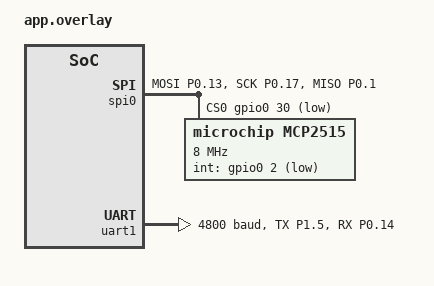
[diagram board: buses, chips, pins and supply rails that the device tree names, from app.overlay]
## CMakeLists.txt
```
# SPDX-License-Identifier: Apache-2.0

cmake_minimum_required(VERSION 3.20.0)

find_package(Zephyr REQUIRED HINTS $ENV{ZEPHYR_BASE})
project(baldr_app)

target_sources(app PRIVATE 
	src/main.c
	src/joystick.c
	src/motorstyring.c
	src/gamepad_uart.c
	src/canbus.c
	)
```

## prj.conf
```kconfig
# nothing here
CONFIG_STDOUT_CONSOLE=y 
CONFIG_ADC=y
CONFIG_CAN=y
CONFIG_CAN_MCP2515=y
CONFIG_SPI=y
CONFIG_NEWLIB_LIBC=y  

#  UART_ISR
CONFIG_SERIAL=y
CONFIG_UART_INTERRUPT_DRIVEN=y
CONFIG_CONSOLE=y
CONFIG_UART_CONSOLE=y

# Bluetooth
CONFIG_BT=y
CONFIG_BT_CENTRAL=y
CONFIG_BT_GATT_CLIENT=y
CONFIG_BT_HCI=y

# Enable scanning
CONFIG_BT_OBSERVER=y

# Logging
CONFIG_LOG=y
CONFIG_LOG_DEFAULT_LEVEL=3

# Memory
CONFIG_HEAP_MEM_POOL_SIZE=2048
```

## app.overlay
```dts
&spi0 {
    status = "okay";
    cs-gpios = <&gpio0 30 GPIO_ACTIVE_LOW>; 
pinctrl-0 = <&spi1_default>; 
pinctrl-names = "default";

    mcp2515: can@0 {
        compatible = "microchip,mcp2515";
        reg = <0>;
        spi-max-frequency = <8000000>;
        int-gpios = <&gpio0 2 (GPIO_ACTIVE_LOW | GPIO_PULL_UP)>;
        osc-freq = <8000000>;
        bus-speed = <500000>;
        status = "okay";
    };
};

&uart1 {
    current-speed = <4800>;
    status = "okay";
    pinctrl-0 = <&uart1_default>;
    pinctrl-names = "default";
    label = "UART_1";
};
 
 
&pinctrl {
    uart1_default: uart1_default {
        group1 {
            psels = <NRF_PSEL(UART_TX, 1, 5)>,
                    <NRF_PSEL(UART_RX, 0, 14)>;
        };
    };
};

&pinctrl {
    spi1_default: spi1_default {
        group1 {
            psels = <NRF_PSEL(SPIM_MOSI, 0, 13)>,
                    <NRF_PSEL(SPIM_SCK, 0, 17)>,
                    <NRF_PSEL(SPIM_MISO, 0, 1)>;
        };
    };
};

/ {
    chosen {
        zephyr,canbus = &mcp2515;
    };
};
```

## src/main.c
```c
//********************************************************************************************************
// Filename		: main.c
// Date			: April 2026
// Description	: Microbit code
// Path			: C:\Baldr_software\Kode\zephyrproject
// Compile		: west build -b bbc_microbit_v2 -p always my_apps/baldr_app --pristine
// Flash		: west flash
//********************************************************************************************************
#include <zephyr/kernel.h>
#include <zephyr/device.h>
#include <zephyr/bluetooth/bluetooth.h>
#include <zephyr/drivers/can.h>
#include <stdio.h> //for tilgang til printf()
#include <stdint.h>  //for å bruke faste heltall
#include <stddef.h>  //tilgang til NULL og size_t
#include <math.h>
#include "joystick.h"
#include "motorstyring.h"
#include "gamepad_uart.h" //"8bitdo.h"
#include "canbus.h"

extern gamepad_t gamepad;

LOG_MODULE_REGISTER(main);

// Global variabel for 8BitDo-kontrolleren
//gamepad_t gamepad;

// Sikre at man får en fast sample-rate på f.eks 10 ms = 0.01 sec (tilsvarer 100 Hz)
K_TIMER_DEFINE(my_timer, NULL, NULL);

//****************************************************************************************************
// Hovedprogrammet
//****************************************************************************************************
int main(void)
{
	int					ret = 0;
	double 				dSampleFreq = 10.0; // Hz
	double 				dTs = 0.0;
	double 				dTs_ms = 0.0;
	uint32_t 			nUpTime = 0;
    CarMovementInput_t  CarMovement;        // Bevegelser av bilen
    MotorVerdier_t      Motorverdier;       // Beregnede motorverider
	RPMVerdier_t 		RPMVerdier;
	double 				dScalingFactor = 1.0;
	int					nRPM1 = 0;
	int					nRPM2 = 0;
	int					nRPM3 = 0;
	int					nRPM4 = 0;
	int					rt_trigger = 0;
	
	dTs = 1.0/dSampleFreq;
	dTs_ms = (1000.0*dTs);

	// Initialisering av gamepad-data
	gamepad.buttons = 0;
	gamepad.joystick[0] = 0;
	gamepad.joystick[1] = 0;
	gamepad.joystick[2] = 0;

    CarMovement.fart = 0.0;
    CarMovement.vinkel = 0.0;
	CarMovement.rotasjon = 0.0;
	//****************************************************************************************************
	// Koble opp CAN-bussen
	//****************************************************************************************************
    if (!device_is_ready(can_dev)) {
        LOG_ERR("CAN device not ready\n");
        return -1;
    }

    ret = can_start(can_dev);
    if (ret != 0) {
        LOG_ERR("Failed to start CAN: %d\n", ret);
        return -1; 
    }
    LOG_INF("CAN started\n");

	//Initialisering av UART som leser fra ESP32. ESP32 har bluetooth kobling til 8bitdo bluetooth-kontroller.
	gamepad_uart_init();

	// Kjøre appen i fast sample-rate
	k_timer_start(&my_timer, K_MSEC(dTs_ms), K_MSEC(dTs_ms));

	//****************************************************************************************************
    // Hovedløkka som håndterer styrer hele programmet fra Game-pad input til VESC controller.
	//****************************************************************************************************
    while (1) {
		//uart_cb er en interrupt service rutine som kalles hver gang vi får data. Kalles derfor ikke herfra.
		k_timer_status_sync(&my_timer);
		nUpTime = k_uptime_seconds();

		// Gjør om fra Joystick/gamepad til Bil-verdier. joystick.c,h
		// Gir inn verdiene som trykker på Game-padden og regner om til hvordan hjulene skal kjøres.
		HandleJoystick(gamepad, &CarMovement);
		// Gjør om fra Bil-verdier til Motor-verdier. motorstyring.c,h
		// Regner ut fra hjulenes bevegelse til verdier pr. hjul oppgitt i {-1.0..1.0}
		kalkulerMotorVerdier(CarMovement, &Motorverdier);
		
        // Send de fire Motor-verdiene (RPM-verdier) til VESC servo kontrollerne over CAN-bus.
		dScalingFactor = CarMovement.dScalingFactor;
        kalkulerRPMVerdier(Motorverdier, &RPMVerdier, dScalingFactor);
		nRPM1 = (int) RPMVerdier.foran_venstre_RPM;
		nRPM2 = (int) RPMVerdier.foran_hoyre_RPM;
		nRPM3 = (int) RPMVerdier.bak_venstre_RPM;
		nRPM4 = (int) RPMVerdier.bak_hoyre_RPM;
		//LOG_INF("RPM = %d,%d,%d,%d\n", nRPM1, nRPM2, nRPM3, nRPM4);
		rt_trigger = gamepad.buttons & BUTTON_RT;  	//# Right-trigger
		if (rt_trigger) {
			ret = vesc_set_rpm(RPMVerdier.foran_venstre_RPM, VESC_ID1);			// Send to VESC controller 1
			ret = vesc_set_rpm(RPMVerdier.foran_hoyre_RPM, VESC_ID2);			// Send to VESC controller 2
			ret = vesc_set_rpm(RPMVerdier.bak_venstre_RPM, VESC_ID3);			// Send to VESC controller 3
			ret = vesc_set_rpm(RPMVerdier.bak_hoyre_RPM, VESC_ID4);				// Send to VESC controller 4
			//LOG_INF("closed_loop\n");
		}
		if (ret == -EAGAIN) {
			// Queue full: ikke send mer nå
			// vent litt lenger før neste forsøk
			LOG_INF("CAN queue full, try again: %d\n", ret);
			k_sleep(K_MSEC(50));
		} else if (ret != 0) {
			LOG_INF("CAN error: %d\n", ret);
		}
    }
	
	return 0;
}
```

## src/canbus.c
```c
//********************************************************************************************************
// Filename		: canbus.c
// Description	: Program taking Joystick input as speed reference and limits the accelaration
//********************************************************************************************************
#include <zephyr/kernel.h>
#include <zephyr/device.h>
#include <zephyr/drivers/can.h>
//#include <zephyr/sys/printk.h>
#include <zephyr/logging/log.h>
#include "canbus.h"

LOG_MODULE_REGISTER(canbus);

const struct device *can_dev = DEVICE_DT_GET(CAN_NODE);

//********************************************************************************************************
int vesc_set_rpm(int32_t rpm, int32_t vesc_id)
{
    struct can_frame frame = {0};

    /* Bygg CAN-ID: (cmd << 8) | vesc_id */
    //uint32_t cmd_id = ((uint32_t)CAN_PACKET_SET_RPM << 8) | VESC_ID;
    uint32_t cmd_id = ((uint32_t)CAN_PACKET_SET_RPM << 8) | vesc_id;

    frame.id      = cmd_id;
    frame.dlc     = 4;   /* RPM = 4 byte */
	frame.flags   = CAN_FRAME_IDE;

    /* Pakk RPM som big-endian */
    frame.data[0] = (rpm >> 24) & 0xFF;
    frame.data[1] = (rpm >> 16) & 0xFF;
    frame.data[2] = (rpm >> 8)  & 0xFF;
    frame.data[3] = (rpm >> 0)  & 0xFF;

	int ret = can_send(can_dev, &frame, K_NO_WAIT, NULL, NULL);
    return ret;
}
```

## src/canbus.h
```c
//********************************************************************************************************
// Filename		: H-file
// Description	: Handling Canbus
//********************************************************************************************************
#ifndef _CANBUS_H_INCLUDED	/* Allow multiple inclusions											    */
#define _CANBUS_H_INCLUDED

#include <zephyr/logging/log.h>
#include <zephyr/drivers/can.h>

#define CAN_NODE DT_CHOSEN(zephyr_canbus)
#define VESC_ID1							1 // VESC-kontroller 1
#define VESC_ID2							2 // VESC-kontroller 2
#define VESC_ID3       			        	3 // VESC-kontroller 3
#define VESC_ID4         					4 // VESC-kontroller 4
#define CAN_PACKET_SET_DUTY     			0 // Dette er PWM-kommandoer
#define CAN_PACKET_SET_RPM      			3 // Dette er ERPM-kommandoer

extern const struct device *can_dev;

//********************************************************************************************************
int vesc_set_rpm(int32_t rpm, int32_t vesc_id);

#endif /* _CANBUS_H_INCLUDED																			*/
```

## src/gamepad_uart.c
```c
#include <zephyr/kernel.h>
#include <zephyr/device.h>
#include <zephyr/devicetree.h>
#include <zephyr/drivers/uart.h>
#include <zephyr/logging/log.h>
#include <stdlib.h>
#include <stdio.h>

#include "gamepad_uart.h"
#include "joystick.h"

LOG_MODULE_REGISTER(gamepad_uart);

#define UART_NODE DT_NODELABEL(uart1)

static const struct device *uart_dev = DEVICE_DT_GET(UART_NODE);

gamepad_t gamepad = {0};

int JS_decode(uint8_t c)
{
    int         nStatus     = 1;            // 1: OK, 0: No data, -1: Error
    static char line[MAX_NUM_DIGITS + 1];   // Buffer for å bygge opp tallstrengen
    static int  iCnt = 0;                   // Indeks for å holde styr på hvor vi er i linjen
    static int  comma_index = 0;            // Indeks for å holde styr på hvilken joystick-knapp vi er på

    // Sjekk om tegnet er et siffer (0-9)
    if ((c >= '0') && (c <= '9')) {
        if (iCnt <= MAX_NUM_DIGITS) {
            line[iCnt++] = c;
        }
    // Fortsett å lese til vi får et komma, som indikerer at vi har fullført en joystick-verdi
    } else if (c == ',') {
        if (iCnt > 0) {
            line[iCnt] = '\0';
            // Konverter linjen til et heltall
            int value = atoi(line);

            // Oppdater gamepad_values med den konverterte verdien
            gamepad.joystick[comma_index] = value;
            iCnt = 0;       // Tilbakestill for neste verdi
            comma_index++;  // Gå til neste joystick-knapp
        }
    // Når vi får linjeskift, da er siste verdi knappe-verdiene. Tilbakestill så for neste runde.
    } else if ((c == '\n') || (c == '\r')) {
        if (iCnt > 0) {
            line[iCnt] = '\0';
            int value = atoi(line);
            gamepad.buttons = value;
            iCnt = 0;           // Tilbakestill for neste runde
            comma_index = 0;    // Tilbakestill for neste runde
        }
    }
    return nStatus;
}

/* Interrupt callback */
void uart_cb(const struct device *dev, void *user_data)
{
    uint8_t buf[UART_FIFO_SIZE];
    int length;

    /* Så lenge det finnes bytes i FIFO, les dem */
    while (uart_irq_update(dev) && uart_irq_rx_ready(dev)) {
        length = uart_fifo_read(dev, buf, sizeof(buf));

        for (int i = 0; i < length; i++) {
            uint8_t c = buf[i];
            /* Her prosesserer du hver byte */
            JS_decode(c);
        }
    }
}

//****************************************************************************************************
void gamepad_uart_init(void)
{
    if (!device_is_ready(uart_dev)) {
        LOG_ERR("UART not ready\n");
        return;
    }

    /* Sett callback */
    uart_irq_callback_set(uart_dev, uart_cb);

    /* Aktiver RX-interrupt */
    uart_irq_rx_enable(uart_dev);

    LOG_INF("Gamepad UART ready");
}
```

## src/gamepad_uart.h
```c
#ifndef _GAMEPAD_UART_H_
#define _GAMEPAD_UART_H_

#include "joystick.h"

#define UART_FIFO_SIZE  32

#define MAX_NUM_DIGITS          4
#define MAX_UART_DATA_LENGTH    35

extern gamepad_t gamepad;

void gamepad_uart_init(void);
void gamepad_uart_update(void);

#endif
```

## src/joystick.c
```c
//********************************************************************************************************
// Filename		: joystick.c
// Description	: Program taking Joystick input as speed reference and limits the accelaration
//********************************************************************************************************
#include <stdio.h>
#include <string.h>
#include <math.h>
#include "joystick.h"

LOG_MODULE_REGISTER(joystick);

const double pi = 3.14159265358979;

//********************************************************************************************************
int beregn_bevegelse(double lx, double ly, double rx, double *fart, double *vinkel, double *rotasjon)
{
    //# dødsone – ignorer små bevegelser
    if (fabs(lx) < 0.1) {
        lx = 0.0;
	}
	
    if (fabs(ly) < 0.1) {
        ly = 0.0;
	}

	if (fabs(rx) < 0.1) {
        rx = 0.0;
    }

	//fart
	
    *fart = sqrt(lx*lx + ly*ly);
    *fart = MIN_VALUE(*fart, 1.0);
	*fart = MAX_VALUE(*fart, -1.0);

    if (*fart < 0.1) {
        *fart = 0.0;
	}
	
	//vinkel

    //# Vinkel: 0° = opp, 90° = høyre, 180° = ned, 270° = venstre
    *vinkel = atan2(lx, -ly);  //# OBS: bytt rekkefølge og tegn
    if (*vinkel < 0.0) {
        *vinkel += 2.0 * pi;
	}

	//rotasjon

	*rotasjon = rx;

    *rotasjon = MIN_VALUE(*rotasjon, 1.0);
    *rotasjon = MAX_VALUE(*rotasjon, -1.0);

    if (fabs(*rotasjon) < 0.1) {
        *rotasjon = 0.0;
    }
	
    return 0;
}

//# Bestem fart basert på valgt profil
//********************************************************************************************************
int skaler_bevegelse(double fart, double rotasjon, int profil, double *skalert_fart, double *skalert_rotasjon)
{
    if (profil == 1) {
        *skalert_fart = fart * 0.2;
		*skalert_rotasjon = rotasjon * 0.2;
    } else if (profil == 2) {
        *skalert_fart = (fart * 0.4);
		*skalert_rotasjon = rotasjon * 0.2;
    } else if (profil == 3) {
        *skalert_fart = (fart * 0.8);
		*skalert_rotasjon = rotasjon * 0.2;
	} else if (profil == 4) {
        *skalert_fart = (fart * 1.0);
		*skalert_rotasjon = rotasjon * 0.2;
    }
	
	return 0;
}

//********************************************************************************************************
int HandleJoystick(gamepad_t gamepad, CarMovementInput_t* pCarMovement)
{
	double 	rotasjon = 0.0;
	int 	aKnapp = 0;
	int 	bKnapp = 0;
	int 	yKnapp = 0;
	int 	xKnapp = 0;
	double 	venstre_x = 0.0;
	double 	venstre_y = 0.0;
	double 	hoyre_x = 0.0;
	static int 	Hastighetsmodus = 1;
	int 	Ret = 0;
	double 	fart = 0.0;
	double 	vinkel = 0.0;
	
	// === Input Knapper ===
	aKnapp = gamepad.buttons & BUTTON_A;  	//# A-knapp
	bKnapp = gamepad.buttons & BUTTON_B;  	//# B-knapp
	yKnapp = gamepad.buttons & BUTTON_Y;  	//# Y-knapp
	xKnapp = gamepad.buttons & BUTTON_X;  	//# X-knapp

	//# == Input Joystick ===
	venstre_x = (double)gamepad.joystick[0]*(2.0/1023.0) - 1.0; //Gjør om fra {0, 1023} til {-1.0, 1.0}
	venstre_y = (double)gamepad.joystick[1]*(2.0/1023.0) - 1.0; //Gjør om fra {0, 1023} til {-1.0, 1.0}
	hoyre_x = (double)gamepad.joystick[2]*(2.0/1023.0) - 1.0; //Gjør om fra {0, 1023} til {-1.0, 1.0}

	pCarMovement->dScalingFactor = 0.2; //1.0

	//# === Endre hastighetsmoduser ===
	/* Endre modus */

if (bKnapp) {

    Hastighetsmodus = 1;

} else if (aKnapp) {

    Hastighetsmodus = 2;

} else if (yKnapp) {

    Hastighetsmodus = 3;

} else if (xKnapp) {

    Hastighetsmodus = 4;
}

/* Bruk lagret modus */

switch (Hastighetsmodus) {

case 1:
    pCarMovement->dScalingFactor = 0.2;
    break;

case 2:
    pCarMovement->dScalingFactor = 0.4;
    break;

case 3:
    pCarMovement->dScalingFactor = 0.8;
    break;

case 4:
    pCarMovement->dScalingFactor = 1.0;
    break;

default:
    pCarMovement->dScalingFactor = 0.2;
    break;
}

	//# Beregn fart og vinkel
	Ret = beregn_bevegelse(venstre_x, venstre_y, hoyre_x, &fart, &vinkel, &rotasjon);

	pCarMovement->fart = fart;
	pCarMovement->vinkel = vinkel;
	pCarMovement->rotasjon = rotasjon;

    return 0;
}
```

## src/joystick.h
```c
//********************************************************************************************************
// Filename		: H-file
// Description	: Handling Joystick
//********************************************************************************************************
#ifndef _JOYSTICK_H_INCLUDED	/* Allow multiple inclusions											    */
#define _JOYSTICK_H_INCLUDED

#include <zephyr/logging/log.h>

#define MAX_VALUE(A,B) ((A)  > (B) ? (A) : (B))
#define MIN_VALUE(A,B) ((A)  < (B) ? (A) : (B))

#define BUTTON_B			0x0001	// bit 0
#define BUTTON_A			0x0002	// bit 1
#define BUTTON_Y			0x0004	// bit 2
#define BUTTON_X			0x0008	// bit 3
#define BUTTON_RT			0x0080  // bit 7

#define MAX_JOYSTICK_AXES       3
#define BUTTONS_AXES            1

typedef struct {
    uint16_t buttons;	    // Alle knappene
    uint16_t joystick[MAX_JOYSTICK_AXES];	// Joysticks, left and right (lx, ly, rx)
} gamepad_t;

typedef struct {
	//Fart og rotasjon
    //hvor fort bilen skal bevege seg. 
    // 0.0 = full stopp
    // 1.0 = maks fart 
    double fart;

    //hvilken retning bilen skal bevege seg i (0 til 2pi radianer) 
    // 0 = rett frem
    // pi/2 = mot venstre
    // pi =  bakover
    // 3pi/2 =  mot høyre
    double vinkel;

    //Den rotasjonen vi ønsker rundt egen akse
    // -1.0 = roter mot venstre
    // 0.0 = ingen rotasjon
    // 1.0 = roter mot høyre
    double rotasjon;

    double dScalingFactor;

    //ekstra finjustering for sving fra en egen styrespak, for at bilen skal svinge som en ekte bil.
    //double sving_js)
} CarMovementInput_t;


//********************************************************************************************************
int beregn_bevegelse(double lx, double ly, double rx, double *fart, double *vinkel, double *rotasjon);
int skaler_bevegelse(double fart, double rotasjon, int profil, double *skalert_fart, double *skalert_rotasjon);
int HandleJoystick(gamepad_t gamepad, CarMovementInput_t* pCarMovement);

#endif /* _JOYSTICK_H_INCLUDED																			*/
```

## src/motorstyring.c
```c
//********************************************************************************************************
// Filename		: motorstyring.c
// Description	: Gjør om fra Joystick input til pådrag på alle fire hjulene
//********************************************************************************************************
#include <stdio.h>
#include <string.h>
#include <math.h>
#include "motorstyring.h"

LOG_MODULE_REGISTER(Motorstyring);

//********************************************************************************************************
// Funksjon som regner ut hvor mye hver motor skal bidra med for å oppnå ønsket fart, vinkel, rotasjon og sving
//********************************************************************************************************
int kalkulerMotorVerdier(CarMovementInput_t CarMovement, MotorVerdier_t *pMotorverdier)
{
    double rotering = 0.0;
    double x = 0.0;
    double y = 0.0;

    // Hvis bilen står stille og RB/LB trykkes så vil bilen rotere med en fast hastighet.
    // trykkes en annen kjøreknapp så stoppes rotasjonen.
/*    if (CarMovement.fart == 0.0 && CarMovement.rotasjon != 0.0) {
        // bruker 0.3 fordi maks rpm er satt til 4tusen, ved å bruke 0.3 * 4tusen
        // så blir rotasjonsfarta 1,2tusen rpm, fast og kontrollert.
        if (CarMovement.rotasjon > 0) {
            rotering = 0.3;
        } else {
            rotering = -0.3;
        } 
    }
*/    

    rotering = CarMovement.rotasjon;
    // Regner ut hvor mye bevegelse som skal være i X-retning (sideveis)
    // Omgjør fart og vinkel til en x-verdi
    // sinf(vinkel) gir hvor mye som skal gå i X-retning
    x = CarMovement.fart * sin(CarMovement.vinkel);

    // Regner ut hvor mye bevegelse som skal være i Y-retning (fremover/bakover)
    // Omgjør fart og vinkel til en Y-verdi
    // cosf(vinkel) gir hvor mye som skal gå i Y-retning
    // X og Y tilsammen er en bevegelsesvektor som
    y = CarMovement.fart * cos(CarMovement.vinkel);

    // for å legge til ekstra sidebevegelse (sving) fra joystick for svinging
    // sving_js ganges med 0.5 for å unngå for brå/kraftig svingeffekt.
    // x += CarMovement.sving_js * 0.5;

    // for å regne ut hvor mye bidrag hvert hjul må tilføre for å kunne bevege fremover, bakover eller sideveis
    // verdiene y og x er fremdrift og sidebevegelse

    // foran venstre (kombinerer retning fremover og høyre bevegelse)
    /*pMotorverdier->foran_venstre = y + x;

    // foran høyre hjul (kombinerer retning fremover og venstre bevegelse)
    pMotorverdier->foran_hoyre = y - x;

    // bak_venstre (kombinerer retning bakover og venstre bevegelse)
    pMotorverdier->bak_venstre = y - x;

    // bak høyre (kombinerer retning bakover og høyre bevegelse)
    pMotorverdier->bak_hoyre = y + x;*/

    /* Legg til rotasjon */

    if (CarMovement.rotasjon != 0.0) {
        rotering = CarMovement.rotasjon;
    }

    /* Motor mixing */

    pMotorverdier->foran_venstre =
    y + x + rotering;

    pMotorverdier->foran_hoyre =
    y - x - rotering;

    pMotorverdier->bak_venstre =
    y - x + rotering;

    pMotorverdier->bak_hoyre =
    y + x - rotering;

    // Etter at det har blitt beregnet hvor mye hvert hjul må bidra med er det viktig å normalisere verdiene
    // normaliserer verdiene for å unngå at noen av verdiene overstiger -0.1 eller 0.1
    // overstiger de dette kan det føre til uforventet bevegelser

    // finner den største absoluttverdien av motorverdiene.
    // bruker funksjonen fmaxf som kan sammenligne to verdier om gangen
    // bruker fmaxf på de to hjulene foran for å finne den største verdien av de to hjulene foran
    // bruker fmaxf på de to hjulene bak for å finne den største verdien av de to hjulene bak
    // bruker deretter fmaxf på begge fmaxf verdiene for å finne hvilken verdi 
    // som er størst av den største foran og største bak
    // den største verdien av de fire legges deretter i "maxverdi"
    double maksverdi = fmaxf(   fmaxf(fabsf(pMotorverdier->foran_venstre), fabsf(pMotorverdier->foran_hoyre)),
                                fmaxf(fabsf(pMotorverdier->bak_venstre), fabsf(pMotorverdier->bak_hoyre)));

    // hvis maksverdi er større enn 1.0 må vi skalere og dette gjøres ved å dele alle 
    // hjulverdiene på maksverdien vi fant. 
    if (maksverdi > 1.0) {
        pMotorverdier->foran_venstre /= maksverdi;
        pMotorverdier->foran_hoyre /= maksverdi;
        pMotorverdier->bak_venstre /= maksverdi;
        pMotorverdier->bak_hoyre /= maksverdi;
    }
	
	return 0;
}

//********************************************************************************************************
// Regner om fra normalisert verdi for hastighet pr. hjul til RPM pr. hjul
//********************************************************************************************************
int kalkulerRPMVerdier(MotorVerdier_t Motorverdier, RPMVerdier_t *pRPMVerdier, double dScalingFactor)
{
	pRPMVerdier->foran_venstre_RPM = Motorverdier.foran_venstre * MAX_ERPM * dScalingFactor;
	pRPMVerdier->foran_hoyre_RPM = Motorverdier.foran_hoyre * MAX_ERPM * dScalingFactor;
	pRPMVerdier->bak_venstre_RPM = Motorverdier.bak_venstre * MAX_ERPM * dScalingFactor;
	pRPMVerdier->bak_hoyre_RPM = Motorverdier.bak_hoyre * MAX_ERPM * dScalingFactor;
	
	return 0;
}
```

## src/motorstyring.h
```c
//********************************************************************************************************
// Filename		: H-file
// Description	: Handling Motorstyring
//********************************************************************************************************
#ifndef _MOTORTSTYRING_H_INCLUDED	/* Allow multiple inclusions										 */
#define _MOTORTSTYRING_H_INCLUDED

#include <zephyr/logging/log.h>
#include "joystick.h"

#define MAX_RPM		4000
#define MAX_ERPM	(7*MAX_RPM) //Elektrisk RPM = 7 polpar * RPM

// Struct som holder output-verdier for de fire hjulene. Verdiene er oppgit {-1.0..1.0}
// Verdiene må regnes om til RPM
typedef struct  {
    double  foran_venstre;
    double  foran_hoyre;
    double  bak_venstre;
    double  bak_hoyre;
} MotorVerdier_t;

typedef struct  {
    double  foran_venstre_RPM;
    double  foran_hoyre_RPM;
    double  bak_venstre_RPM;
    double  bak_hoyre_RPM;
} RPMVerdier_t;

//********************************************************************************************************
int kalkulerMotorVerdier(CarMovementInput_t CarMovement, MotorVerdier_t *pMotorverdier);
int kalkulerRPMVerdier(MotorVerdier_t Motorverdier, RPMVerdier_t *pRPMVerdier, double dScalingFactor);

#endif /* _MOTORSTYRING_H_INCLUDED																		   */
```
